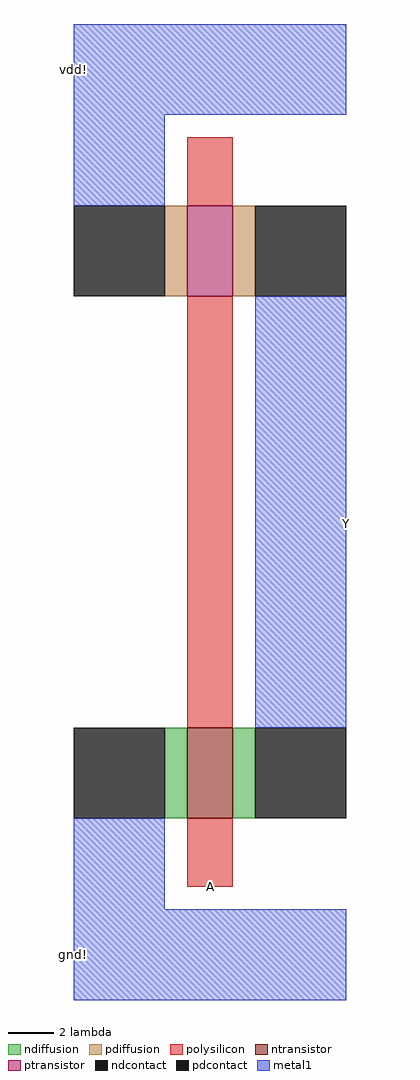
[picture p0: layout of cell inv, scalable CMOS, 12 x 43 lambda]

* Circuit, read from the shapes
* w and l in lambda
.subckt inv A Y gnd! vdd!
M1 Y A gnd! VSUBS nfet w=4 l=2
M2 Y A vdd! NWELL pfet w=4 l=2
.ends

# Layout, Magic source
magic
tech scmos
<< ntransistor >>
rect 5 8 7 12
<< ptransistor >>
rect 5 31 7 35
<< ndiffusion >>
rect 4 8 5 12
rect 7 8 8 12
<< pdiffusion >>
rect 4 31 5 35
rect 7 31 8 35
<< ndcontact >>
rect 0 8 4 12
rect 8 8 12 12
<< pdcontact >>
rect 0 31 4 35
rect 8 31 12 35
<< polysilicon >>
rect 5 35 7 38
rect 5 12 7 31
rect 5 5 7 8
<< metal1 >>
rect 0 39 12 43
rect 0 35 4 39
rect 8 12 12 31
rect 0 4 4 8
rect 0 0 12 4
<< labels >>
rlabel metal1 12 19 12 23 7 Y
rlabel polysilicon 5 5 7 5 1 A
rlabel metal1 0 39 0 43 4 vdd!
rlabel metal1 0 0 0 4 2 gnd!
<< end >>
